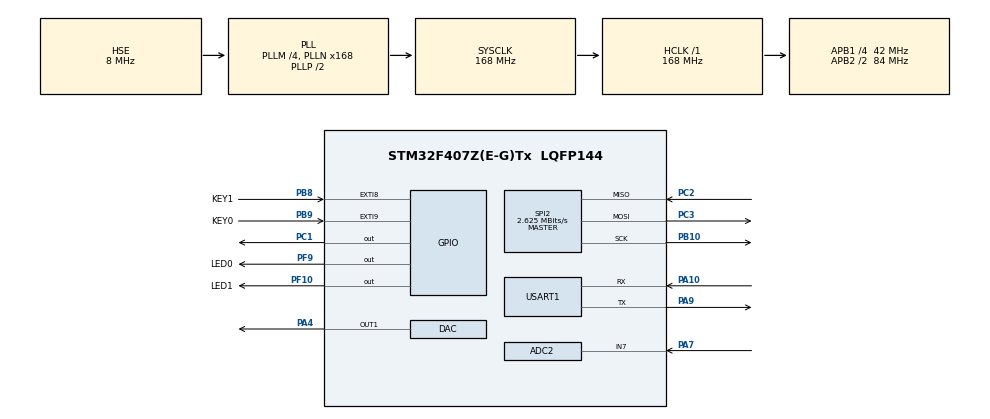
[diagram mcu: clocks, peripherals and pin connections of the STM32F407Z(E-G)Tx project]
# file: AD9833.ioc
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ADC2.Channel-1\#ChannelRegularConversion=ADC_CHANNEL_7
ADC2.NbrOfConversionFlag=1
ADC2.Rank-1\#ChannelRegularConversion=1
ADC2.SamplingTime-1\#ChannelRegularConversion=ADC_SAMPLETIME_3CYCLES
DAC.DAC_Trigger=DAC_TRIGGER_SOFTWARE
Mcu.Family=STM32F4
Mcu.Name=STM32F407Z(E-G)Tx
Mcu.Package=LQFP144
NVIC.EXTI9_5_IRQn=true\:0\:0\:false\:false\:true\:true\:true\:true
NVIC.PriorityGroup=NVIC_PRIORITYGROUP_4
PA10.Mode=Asynchronous
PA10.Signal=USART1_RX
PA13.Mode=Serial_Wire
PA13.Signal=SYS_JTMS-SWDIO
PA14.Mode=Serial_Wire
PA14.Signal=SYS_JTCK-SWCLK
PA4.Signal=COMP_DAC1_group
PA7.Signal=ADCx_IN7
PA9.Mode=Asynchronous
PA9.Signal=USART1_TX
PB10.Mode=Full_Duplex_Master
PB10.Signal=SPI2_SCK
PB8.GPIO_Label=KEY1
PB8.GPIO_ModeDefaultEXTI=GPIO_MODE_IT_FALLING
PB8.GPIO_PuPd=GPIO_PULLUP
PB8.Signal=GPXTI8
PB9.GPIO_Label=KEY0
PB9.GPIO_ModeDefaultEXTI=GPIO_MODE_IT_FALLING
PB9.GPIO_PuPd=GPIO_PULLUP
PB9.Signal=GPXTI9
PC1.Signal=GPIO_Output
PC2.Mode=Full_Duplex_Master
PC2.Signal=SPI2_MISO
PC3.Mode=Full_Duplex_Master
PC3.Signal=SPI2_MOSI
PF10.GPIO_Label=LED1
PF10.GPIO_PuPd=GPIO_PULLUP
PF10.GPIO_Speed=GPIO_SPEED_FREQ_HIGH
PF10.PinState=GPIO_PIN_SET
PF10.Signal=GPIO_Output
PF9.GPIO_Label=LED0
PF9.GPIO_PuPd=GPIO_PULLUP
PF9.GPIO_Speed=GPIO_SPEED_FREQ_HIGH
PF9.PinState=GPIO_PIN_SET
PF9.Signal=GPIO_Output
PH0-OSC_IN.Mode=HSE-External-Oscillator
PH0-OSC_IN.Signal=RCC_OSC_IN
PH1-OSC_OUT.Mode=HSE-External-Oscillator
PH1-OSC_OUT.Signal=RCC_OSC_OUT
ProjectManager.HeapSize=0x200
ProjectManager.StackSize=0x400
ProjectManager.TargetToolchain=STM32CubeIDE
RCC.48MHZClocksFreq_Value=84000000
RCC.AHBFreq_Value=168000000
RCC.APB1CLKDivider=RCC_HCLK_DIV4
RCC.APB1Freq_Value=42000000
RCC.APB1TimFreq_Value=84000000
RCC.APB2CLKDivider=RCC_HCLK_DIV2
RCC.APB2Freq_Value=84000000
RCC.APB2TimFreq_Value=168000000
RCC.CortexFreq_Value=168000000
RCC.HCLKFreq_Value=168000000
RCC.HSE_VALUE=8000000
RCC.HSI_VALUE=16000000
RCC.LSE_VALUE=32768
RCC.PLLM=4
RCC.PLLN=168
RCC.PLLSourceVirtual=RCC_PLLSOURCE_HSE
RCC.SYSCLKFreq_VALUE=168000000
RCC.SYSCLKSource=RCC_SYSCLKSOURCE_PLLCLK
RCC.VCOOutputFreq_Value=336000000
SH.ADCx_IN7.0=ADC2_IN7,IN7
SH.COMP_DAC1_group.0=DAC_OUT1,DAC_OUT1
SPI2.BaudRatePrescaler=SPI_BAUDRATEPRESCALER_16
SPI2.CLKPolarity=SPI_POLARITY_HIGH
SPI2.CalculateBaudRate=2.625 MBits/s
SPI2.Direction=SPI_DIRECTION_2LINES
SPI2.Mode=SPI_MODE_MASTER
SPI2.VirtualType=VM_MASTER
USART1.VirtualMode=VM_ASYNC
board=custom

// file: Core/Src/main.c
/* USER CODE BEGIN Header */
/**
 ******************************************************************************
 * @file           : main.c
 * @brief          : Main program body
 ******************************************************************************
 * @attention
 *
 * Copyright (c) 2023 STMicroelectronics.
 * All rights reserved.
 *
 * This software is licensed under terms that can be found in the LICENSE file
 * in the root directory of this software component.
 * If no LICENSE file comes with this software, it is provided AS-IS.
 *
 ******************************************************************************
 */
/* USER CODE END Header */
#include "main.h"
#include "adc.h"
#include "dac.h"
#include "spi.h"
#include "usart.h"
#include "gpio.h"

/* USER CODE BEGIN Includes */
#include <stdio.h>
#include "math.h"
#include "arm_math.h"
#include "ad9833.h"
/* USER CODE END Includes */

void SystemClock_Config(void);

/* USER CODE BEGIN 0 */
#define FFT_LENGTH      1024

float fft_inputbuf[FFT_LENGTH * 2];     /* FFT输入数组 */
float fft_outputbuf[FFT_LENGTH];        /* FFT输出数组 */

uint32_t adc_value;						/*ADC采集*/
float    Volt;							/*ADC转换*/
/* USER CODE END 0 */

int main(void)
{

  /* USER CODE BEGIN 1 */
    arm_cfft_radix4_instance_f32 scfft;
    arm_cfft_radix4_init_f32(&scfft, FFT_LENGTH, 0, 1);         /* 初始化scfft结构体，设定FFT相关参数 */
  /* USER CODE END 1 */

  /* MCU Configuration--------------------------------------------------------*/

  /* Reset of all peripherals, Initializes the Flash interface and the Systick. */
  HAL_Init();

  /* Configure the system clock */
  SystemClock_Config();

  /* Initialize all configured peripherals */
  MX_GPIO_Init();
  MX_USART1_UART_Init();
  MX_DAC_Init();
  MX_ADC2_Init();
  MX_SPI2_Init();
  /* USER CODE BEGIN 2 */
  AD9833_GPIOinit();
  HAL_Delay(10);

  AD9833_FreqSet(1000);
  AD9833_CtrlSet(1, 3, 0, 0);

  HAL_Delay(1000);
  AD9833_CtrlSet(0, 0, 0, 0);
  /* USER CODE END 2 */

  /* Infinite loop */
    while (1) {

    }
}

void SystemClock_Config(void)
{
  RCC_OscInitTypeDef RCC_OscInitStruct = {0};
  RCC_ClkInitTypeDef RCC_ClkInitStruct = {0};

  /** Configure the main internal regulator output voltage
  */
  __HAL_RCC_PWR_CLK_ENABLE();
  __HAL_PWR_VOLTAGESCALING_CONFIG(PWR_REGULATOR_VOLTAGE_SCALE1);

  /** Initializes the RCC Oscillators according to the specified parameters
  * in the RCC_OscInitTypeDef structure.
  */
  RCC_OscInitStruct.OscillatorType = RCC_OSCILLATORTYPE_HSE;
  RCC_OscInitStruct.HSEState = RCC_HSE_ON;
  RCC_OscInitStruct.PLL.PLLState = RCC_PLL_ON;
  RCC_OscInitStruct.PLL.PLLSource = RCC_PLLSOURCE_HSE;
  RCC_OscInitStruct.PLL.PLLM = 4;
  RCC_OscInitStruct.PLL.PLLN = 168;
  RCC_OscInitStruct.PLL.PLLP = RCC_PLLP_DIV2;
  RCC_OscInitStruct.PLL.PLLQ = 4;
  if (HAL_RCC_OscConfig(&RCC_OscInitStruct) != HAL_OK)
  {
    Error_Handler();
  }

  /** Initializes the CPU, AHB and APB buses clocks
  */
  RCC_ClkInitStruct.ClockType = RCC_CLOCKTYPE_HCLK|RCC_CLOCKTYPE_SYSCLK
                              |RCC_CLOCKTYPE_PCLK1|RCC_CLOCKTYPE_PCLK2;
  RCC_ClkInitStruct.SYSCLKSource = RCC_SYSCLKSOURCE_PLLCLK;
  RCC_ClkInitStruct.AHBCLKDivider = RCC_SYSCLK_DIV1;
  RCC_ClkInitStruct.APB1CLKDivider = RCC_HCLK_DIV4;
  RCC_ClkInitStruct.APB2CLKDivider = RCC_HCLK_DIV2;

  if (HAL_RCC_ClockConfig(&RCC_ClkInitStruct, FLASH_LATENCY_5) != HAL_OK)
  {
    Error_Handler();
  }
}

void Error_Handler(void)
{
    __disable_irq();
    while (1) {
    }
}
